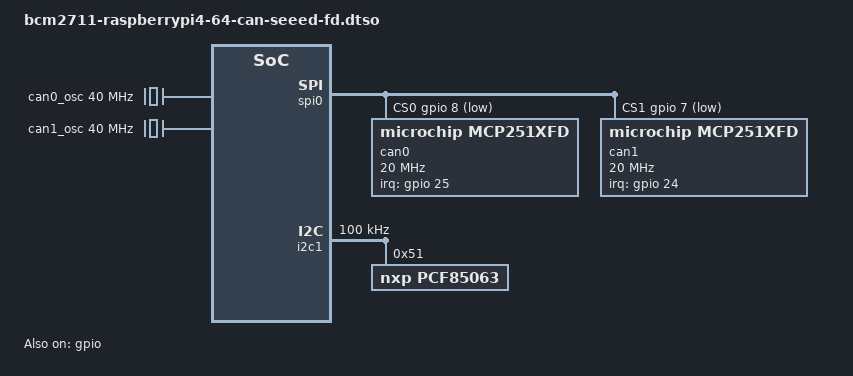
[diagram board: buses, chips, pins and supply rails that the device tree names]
/*
 * Copyright (c) 2025 EPAM systems
 *
 * SPDX-License-Identifier: Apache-2.0
 */

/*
 * Seeed 2-channel CAN-FD HAT (dual MCP251xFD + PCF85063 RTC) on SPI0/I2C1 for
 * the base DomD partial DT.
 * Optional: MACHINE_FEATURES "domd_can" + DOMD_CAN_TYPE = "seeed-fd".
 *
 * Ported from the BCM2712/RP1 version: RP1's Synopsys DW-APB SSI + AXI DMA and
 * Synopsys DesignWare I2C become the on-SoC BCM2835 SPI0 (0xfe204000, GIC SPI
 * 118) and BCM2711 I2C1 (0xfe804000, GIC SPI 117), and RP1's string-based
 * pinctrl becomes brcm,pins / brcm,function on the bcm2711 GPIO bank.
 *
 * Wiring follows the Seeed 2-CH CAN-FD HAT documentation:
 *   CE0 (GPIO8) -> can0, INT on GPIO25
 *   CE1 (GPIO7) -> can1, INT on GPIO24
 *   RTC on I2C1 (GPIO2/GPIO3) at address 0x51
 *
 * See bcm2711-raspberrypi4-64-can-mcp2515.dtso for the SPI0 CLOCK CAVEAT — the
 * same fixed-clock stand-in and core_freq pinning applies here.
 *
 * NOT VERIFIED ON HARDWARE — the cockpit build leaves domd_can off.
 */

/dts-v1/;
/plugin/;

&passthrough {
	can0_osc: mcp251xfd-spi0-0-osc {
		compatible = "fixed-clock";
		#clock-cells = <0x00>;
		clock-frequency = <40000000>;
	};

	can1_osc: mcp251xfd-spi0-1-osc {
		compatible = "fixed-clock";
		#clock-cells = <0x00>;
		clock-frequency = <40000000>;
	};

	/* Stand-in for cprman BCM2835_CLOCK_VPU — see the mcp2515 overlay. */
	clk_spi0: clk-spi0 {
		compatible = "fixed-clock";
		#clock-cells = <0x00>;
		clock-frequency = <250000000>;
		clock-output-names = "spi0-core";
	};

	/* I2C1's host clock is cprman BCM2835_CLOCK_VPU as well. */
	clk_i2c1: clk-i2c1 {
		compatible = "fixed-clock";
		#clock-cells = <0x00>;
		clock-frequency = <250000000>;
		clock-output-names = "i2c1-core";
	};
};

&soc_bus {
	/*
	 * On-SoC pinctrl/GPIO. Defined here rather than in the base DomD partial DT
	 * because the SPI-attached CAN controllers are its only consumer, and its two
	 * GIC SPIs (113/114) must not be claimed unless can-passthrough.dtso is also
	 * applied to the host DT -- otherwise Xen keeps the node with the hardware
	 * domain and DomD's request for those SPIs fails with -EBUSY.
	 */
	gpio: gpio@fe200000 {
		compatible = "brcm,bcm2711-gpio";
		reg = <0x0 0xfe200000 0x0 0xb4>;
		interrupts = <0x0 113 0x4>,
			     <0x0 114 0x4>;
		interrupt-parent = <&gic>;
		gpio-controller;
		#gpio-cells = <0x2>;
		interrupt-controller;
		#interrupt-cells = <0x2>;
		xen,path = "/soc/gpio@7e200000";
		xen,force-assign-without-iommu;
		xen,reg = <0x0 0xfe200000 0x0 0x1000 0x0 0xfe200000>;
		status = "okay";

		spi0_pins: spi0-pins {
			brcm,pins = <9 10 11>;
			brcm,function = <4>;		/* ALT0 = SPI0 */
		};

		spi0_cs_pins: spi0-cs-pins {
			brcm,pins = <8 7>;
			brcm,function = <1>;		/* output */
		};

		i2c1_pins: i2c1-pins {
			brcm,pins = <2 3>;
			brcm,function = <4>;		/* ALT0 = I2C1 */
		};

		can0_pins: mcp251xfd-spi0-0-pins {
			brcm,pins = <25>;
			brcm,function = <0>;		/* input (INT) */
		};

		can1_pins: mcp251xfd-spi0-1-pins {
			brcm,pins = <24>;
			brcm,function = <0>;		/* input (INT) */
		};
	};
};

&soc_bus {
	spi0: spi@fe204000 {
		compatible = "brcm,bcm2835-spi";
		reg = <0x0 0xfe204000 0x0 0x200>;
		interrupts = <0x0 118 0x4>;	/* GIC SPI 118 */
		interrupt-parent = <&gic>;
		clocks = <&clk_spi0>;
		#address-cells = <0x1>;
		#size-cells = <0x0>;
		pinctrl-names = "default";
		pinctrl-0 = <&spi0_pins>, <&spi0_cs_pins>;
		cs-gpios = <&gpio 8 1>, <&gpio 7 1>;
		xen,path = "/soc/spi@7e204000";
		xen,force-assign-without-iommu;
		xen,reg = <0x0 0xfe204000 0x0 0x1000 0x0 0xfe204000>;
		status = "okay";

		can0: mcp251xfd@0 {
			compatible = "microchip,mcp251xfd";
			reg = <0x00>;
			clocks = <&can0_osc>;
			spi-max-frequency = <20000000>;
			interrupt-parent = <&gpio>;
			interrupts = <25 0x8>;		/* GPIO25, IRQ_TYPE_LEVEL_LOW */
			pinctrl-names = "default";
			pinctrl-0 = <&can0_pins>;
		};

		can1: mcp251xfd@1 {
			compatible = "microchip,mcp251xfd";
			reg = <0x01>;
			clocks = <&can1_osc>;
			spi-max-frequency = <20000000>;
			interrupt-parent = <&gpio>;
			interrupts = <24 0x8>;		/* GPIO24, IRQ_TYPE_LEVEL_LOW */
			pinctrl-names = "default";
			pinctrl-0 = <&can1_pins>;
		};
	};

	i2c1: i2c@fe804000 {
		compatible = "brcm,bcm2711-i2c", "brcm,bcm2835-i2c";
		reg = <0x0 0xfe804000 0x0 0x1000>;
		interrupts = <0x0 117 0x4>;	/* GIC SPI 117 */
		interrupt-parent = <&gic>;
		clocks = <&clk_i2c1>;
		clock-frequency = <100000>;
		#address-cells = <0x1>;
		#size-cells = <0x0>;
		pinctrl-names = "default";
		pinctrl-0 = <&i2c1_pins>;
		xen,path = "/soc/i2c@7e804000";
		xen,force-assign-without-iommu;
		xen,reg = <0x0 0xfe804000 0x0 0x1000 0x0 0xfe804000>;
		status = "okay";

		pcf85063@51 {
			compatible = "nxp,pcf85063";
			reg = <0x51>;
		};
	};
};
